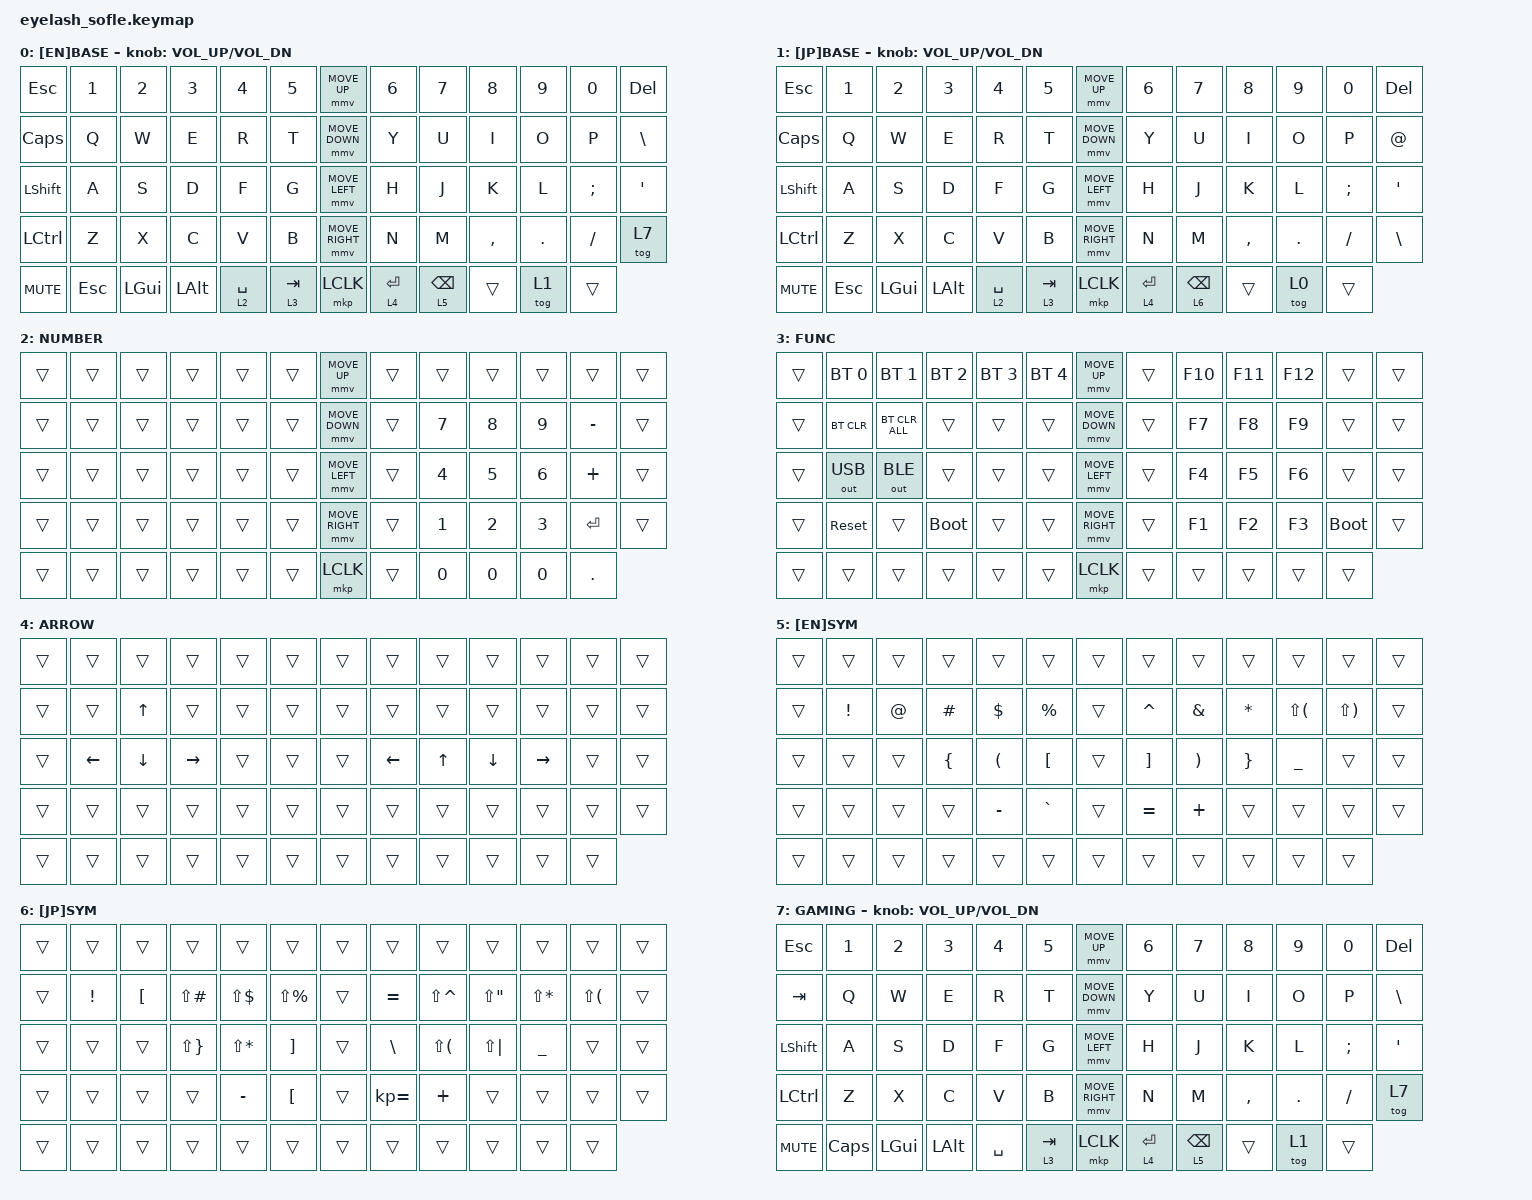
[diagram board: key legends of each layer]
#define ZMK_POINTING_DEFAULT_MOVE_VAL 1200  // 600
#define ZMK_POINTING_DEFAULT_SCRL_VAL 35    // 10

#include <input/processors.dtsi>
#include <zephyr/dt-bindings/input/input-event-codes.h>
#include <behaviors.dtsi>
#include <dt-bindings/zmk/bt.h>
#include <dt-bindings/zmk/keys.h>
#include <dt-bindings/zmk/outputs.h>
#include <dt-bindings/zmk/pointing.h>

/ {
    zip_scroll_scaler: zip_scroll_scaler {
        compatible = "zmk,input-processor-scaler";
        #input-processor-cells = <2>;
        type = <INPUT_EV_REL>;
        codes = <INPUT_REL_WHEEL INPUT_REL_HWHEEL>;
        track-remainders;
    };
};

&mmv_input_listener { input-processors = <&zip_xy_scaler 2 1>; };

&msc_input_listener { input-processors = <&zip_scroll_scaler 2 1>; };

&msc {
    acceleration-exponent = <0>;      // 0
    time-to-max-speed-ms = <0>;       // 300
    delay-ms = <0>;                   // 0
};

&mmv {
    time-to-max-speed-ms = <400>;
    acceleration-exponent = <1>;
};

&lt {
    tapping-term-ms = <200>;
    quick-tap-ms = <200>;
    flavor = "hold-preferred";
};

/ {
    scroll_encoder: scroll_encoder {
        compatible = "zmk,behavior-sensor-rotate";
        #sensor-binding-cells = <0>;
        bindings = <&msc SCRL_DOWN>, <&msc SCRL_UP>;

        tap-ms = <30>;
    };

    behaviors {
    };

    keymap {
        compatible = "zmk,keymap";

        layer_0 {
            bindings = <
&kp ESC         &kp N1   &kp N2        &kp N3        &kp N4       &kp N5       &mmv MOVE_UP     &kp N6       &kp N7           &kp N8     &kp N9   &kp N0    &kp DEL
&kp CAPSLOCK    &kp Q    &kp W         &kp E         &kp R        &kp T        &mmv MOVE_DOWN   &kp Y        &kp U            &kp I      &kp O    &kp P     &kp BSLH
&kp LEFT_SHIFT  &kp A    &kp S         &kp D         &kp F        &kp G        &mmv MOVE_LEFT   &kp H        &kp J            &kp K      &kp L    &kp SEMI  &kp APOS
&kp LCTRL       &kp Z    &kp X         &kp C         &kp V        &kp B        &mmv MOVE_RIGHT  &kp N        &kp M            &kp COMMA  &kp DOT  &kp FSLH  &tog 7
&kp C_MUTE      &kp ESC  &kp LEFT_GUI  &kp LEFT_ALT  &lt 2 SPACE  &lt 3 TAB    &mkp LCLK        &lt 4 ENTER  &lt 5 BACKSPACE  &trans     &tog 1   &trans
            >;

            sensor-bindings = <&inc_dec_kp C_VOLUME_UP C_VOL_DN>;
            display-name = "[EN]BASE";
        };

        layer_1 {
            display-name = "[JP]BASE";
            bindings = <
&kp ESC         &kp N1   &kp N2        &kp N3        &kp N4       &kp N5       &mmv MOVE_UP     &kp N6       &kp N7           &kp N8     &kp N9   &kp N0    &kp DEL
&kp CAPSLOCK    &kp Q    &kp W         &kp E         &kp R        &kp T        &mmv MOVE_DOWN   &kp Y        &kp U            &kp I      &kp O    &kp P     &kp AT
&kp LEFT_SHIFT  &kp A    &kp S         &kp D         &kp F        &kp G        &mmv MOVE_LEFT   &kp H        &kp J            &kp K      &kp L    &kp SEMI  &kp APOS
&kp LCTRL       &kp Z    &kp X         &kp C         &kp V        &kp B        &mmv MOVE_RIGHT  &kp N        &kp M            &kp COMMA  &kp DOT  &kp FSLH  &kp BSLH
&kp C_MUTE      &kp ESC  &kp LEFT_GUI  &kp LEFT_ALT  &lt 2 SPACE  &lt 3 TAB    &mkp LCLK        &lt 4 ENTER  &lt 6 BACKSPACE  &trans     &tog 0   &trans
            >;

            sensor-bindings = <&inc_dec_kp C_VOLUME_UP C_VOL_DN>;
        };

        layer_2 {
            bindings = <
&trans  &trans  &trans  &trans  &trans  &trans    &mmv MOVE_UP     &trans  &trans        &trans        &trans        &trans     &trans
&trans  &trans  &trans  &trans  &trans  &trans    &mmv MOVE_DOWN   &trans  &kp NUMBER_7  &kp NUMBER_8  &kp NUMBER_9  &kp MINUS  &trans
&trans  &trans  &trans  &trans  &trans  &trans    &mmv MOVE_LEFT   &trans  &kp NUMBER_4  &kp NUMBER_5  &kp NUMBER_6  &kp PLUS   &trans
&trans  &trans  &trans  &trans  &trans  &trans    &mmv MOVE_RIGHT  &trans  &kp NUMBER_1  &kp NUMBER_2  &kp NUMBER_3  &kp ENTER  &trans
&trans  &trans  &trans  &trans  &trans  &trans    &mkp LCLK        &trans  &kp N0        &kp NUMBER_0  &kp N0        &kp DOT
            >;

            display-name = "NUMBER";
        };

        layer_3 {
            bindings = <
&trans  &bt BT_SEL 0  &bt BT_SEL 1    &bt BT_SEL 2  &bt BT_SEL 3  &bt BT_SEL 4    &mmv MOVE_UP     &trans  &kp F10  &kp F11  &kp F12  &trans       &trans
&trans  &bt BT_CLR    &bt BT_CLR_ALL  &trans        &trans        &trans          &mmv MOVE_DOWN   &trans  &kp F7   &kp F8   &kp F9   &trans       &trans
&trans  &out OUT_USB  &out OUT_BLE    &trans        &trans        &trans          &mmv MOVE_LEFT   &trans  &kp F4   &kp F5   &kp F6   &trans       &trans
&trans  &sys_reset    &trans          &bootloader   &trans        &trans          &mmv MOVE_RIGHT  &trans  &kp F1   &kp F2   &kp F3   &bootloader  &trans
&trans  &trans        &trans          &trans        &trans        &trans          &mkp LCLK        &trans  &trans   &trans   &trans   &trans
            >;

            label = "FUNC";
        };

        layer_4 {
            bindings = <
&trans  &trans    &trans    &trans     &trans  &trans    &trans  &trans    &trans  &trans    &trans     &trans  &trans
&trans  &trans    &kp UP    &trans     &trans  &trans    &trans  &trans    &trans  &trans    &trans     &trans  &trans
&trans  &kp LEFT  &kp DOWN  &kp RIGHT  &trans  &trans    &trans  &kp LEFT  &kp UP  &kp DOWN  &kp RIGHT  &trans  &trans
&trans  &trans    &trans    &trans     &trans  &trans    &trans  &trans    &trans  &trans    &trans     &trans  &trans
&trans  &trans    &trans    &trans     &trans  &trans    &trans  &trans    &trans  &trans    &trans     &trans
            >;

            label = "ARROW";
        };

        layer_5 {
            bindings = <
&trans  &trans           &trans       &trans    &trans                &trans         &trans  &trans     &trans                 &trans           &trans          &trans        &trans
&trans  &kp EXCLAMATION  &kp AT_SIGN  &kp HASH  &kp DOLLAR            &kp PERCENT    &trans  &kp CARET  &kp AMPERSAND          &kp ASTERISK     &kp LS(LPAR)    &kp LS(RPAR)  &trans
&trans  &trans           &trans       &kp LBRC  &kp LEFT_PARENTHESIS  &kp LBKT       &trans  &kp RBKT   &kp RIGHT_PARENTHESIS  &kp RIGHT_BRACE  &kp UNDERSCORE  &trans        &trans
&trans  &trans           &trans       &trans    &kp MINUS             &kp GRAVE      &trans  &kp EQUAL  &kp PLUS               &trans           &trans          &trans        &trans
&trans  &trans           &trans       &trans    &trans                &trans         &trans  &trans     &trans                 &trans           &trans          &trans
            >;

            label = "[EN]SYM";
        };

        layer_6 {
            bindings = <
&trans  &trans           &trans    &trans         &trans        &trans           &trans  &trans        &trans         &trans        &trans          &trans        &trans
&trans  &kp EXCLAMATION  &kp LBKT  &kp LS(POUND)  &kp LS(DLLR)  &kp LS(PRCNT)    &trans  &kp EQUAL     &kp LS(CARET)  &kp LS(DQT)   &kp LS(STAR)    &kp LS(LPAR)  &trans
&trans  &trans           &trans    &kp LS(RBRC)   &kp LS(STAR)  &kp RBKT         &trans  &kp BSLH      &kp LS(LPAR)   &kp LS(PIPE)  &kp UNDERSCORE  &trans        &trans
&trans  &trans           &trans    &trans         &kp MINUS     &kp LBKT         &trans  &kp KP_EQUAL  &kp PLUS       &trans        &trans          &trans        &trans
&trans  &trans           &trans    &trans         &trans        &trans           &trans  &trans        &trans         &trans        &trans          &trans
            >;

            label = "[JP]SYM";
        };

        layer_7 {
            display-name = "GAMING";
            bindings = <
&kp ESC         &kp N1        &kp N2        &kp N3        &kp N4     &kp N5       &mmv MOVE_UP     &kp N6       &kp N7           &kp N8     &kp N9   &kp N0    &kp DEL
&kp TAB         &kp Q         &kp W         &kp E         &kp R      &kp T        &mmv MOVE_DOWN   &kp Y        &kp U            &kp I      &kp O    &kp P     &kp BSLH
&kp LEFT_SHIFT  &kp A         &kp S         &kp D         &kp F      &kp G        &mmv MOVE_LEFT   &kp H        &kp J            &kp K      &kp L    &kp SEMI  &kp APOS
&kp LCTRL       &kp Z         &kp X         &kp C         &kp V      &kp B        &mmv MOVE_RIGHT  &kp N        &kp M            &kp COMMA  &kp DOT  &kp FSLH  &tog 7
&kp C_MUTE      &kp CAPSLOCK  &kp LEFT_GUI  &kp LEFT_ALT  &kp SPACE  &lt 3 TAB    &mkp LCLK        &lt 4 ENTER  &lt 5 BACKSPACE  &trans     &tog 1   &trans
            >;

            sensor-bindings = <&inc_dec_kp C_VOLUME_UP C_VOL_DN>;
        };
    };
};
